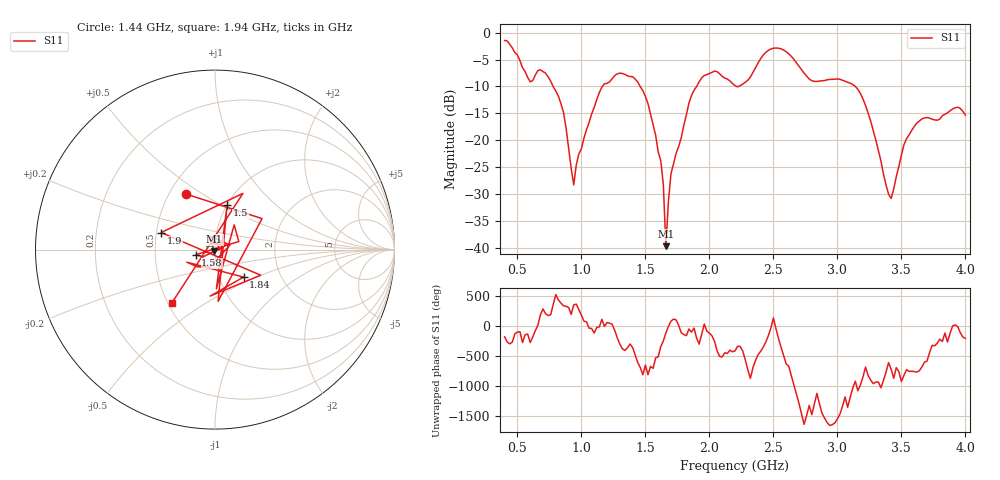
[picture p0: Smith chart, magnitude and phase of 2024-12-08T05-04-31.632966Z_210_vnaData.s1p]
!Created with skrf (http://scikit-rf.org).
# Hz S RI R 50.0
!freq ReS11 ImS11
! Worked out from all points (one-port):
!   181 points, 400 MHz to 4 GHz, reference 50 ohm
!   lowest |S11| = -39.7 dB at 1.66 GHz (marker M1), VSWR 1.02, Z = 49.6 - j0.96 ohm
!   |S11| at or under -10 dB: 778.9 MHz to 1.164 GHz (385.3 MHz wide, 39.7 % of centre); 1.459 GHz to 1.901 GHz (442.1 MHz wide, 26.3 % of centre); 3.141 GHz to end of sweep (the widest 3 of 4)
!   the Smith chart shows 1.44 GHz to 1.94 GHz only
!   S11 on the Smith chart (normalised r, x): 1.44 GHz: 0.61, +0.43; 1.5 GHz: 1.00, +0.53; 1.58 GHz: 0.80, -0.05; 1.84 GHz: 1.30, -0.42; 1.9 GHz: 0.53, +0.11; 1.94 GHz: 0.53, -0.36
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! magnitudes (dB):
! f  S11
! 400 MHz  -1.4
! 600 MHz  -9.1
! 720 MHz  -7.5
! 860 MHz  -14.8
! 940 MHz  -28.3
! 980 MHz  -22.6
! 1.14 GHz  -11.1
! 1.3 GHz  -7.5
! 1.44 GHz  -9.2
! 1.5 GHz  -11.9
! 1.58 GHz  -19.1
! 1.64 GHz  -28.3
! 1.66 GHz  -39.7
! 1.7 GHz  -26.2
! 1.76 GHz  -21.2
! 1.84 GHz  -13.1
! 1.9 GHz  -10.0
! 1.94 GHz  -8.4
! 2.2 GHz  -9.8
! 2.48 GHz  -3.0
! 2.66 GHz  -5.0
! 2.8 GHz  -8.9
! 3.1 GHz  -9.4
! 3.22 GHz  -13.5
! 3.42 GHz  -30.9
! 3.56 GHz  -19.0
! 3.68 GHz  -15.9
! 4 GHz  -15.3
